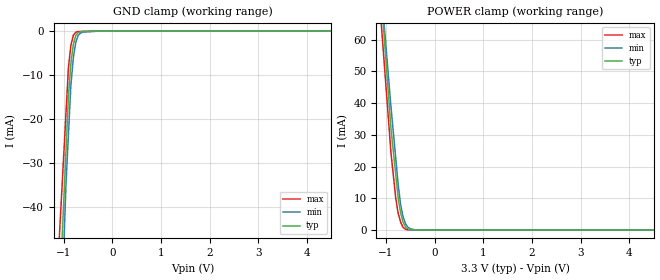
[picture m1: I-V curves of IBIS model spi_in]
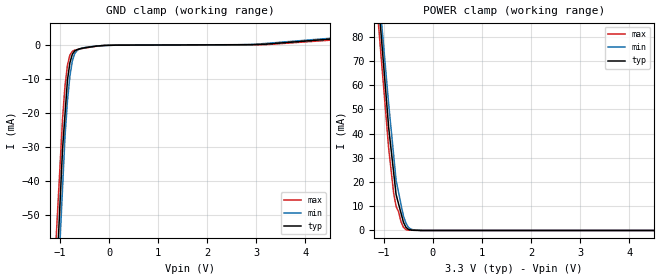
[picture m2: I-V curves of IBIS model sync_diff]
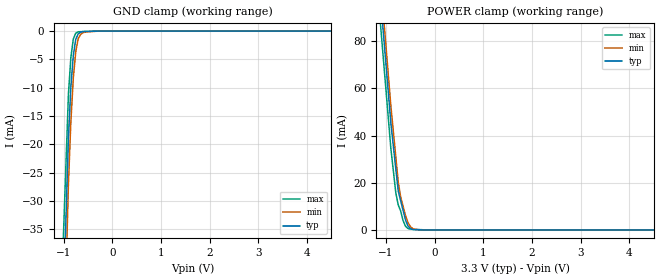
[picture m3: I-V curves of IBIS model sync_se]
| Teraspeed Labs Modeling Services.
| http://www.teraspeedlabs.com
[IBIS Ver]  4.0
[File Name] ltc6953iukg.ibs
[File Rev]  3.2
[Source]  Measured and created by Teraspeed Labs
[Date]   08/2/2019
[Notes]   Quality Check of this IBIS model: Model Passes IBIS Check
   Model parses into ICX IS. Simulation done with Hyperlynx.
   1. MIN TYP MAX information is based on Temperature and
   Voltage characteristics only.
   2. Package data gained using Tektronix ICconnect Software.
   3.1 updated input thresholds
   3.2 updated Vdiff
[Disclaimer]
| Use: Teraspeed (R) Labs has licensed Teraspeed (R) AccuModel (tm)
| IBIS models to specific integrated circuit suppliers ("IC Vendors")
| for use and distribution as  follows: Each IC Vendor may use IBIS
| Models, and distribute them to IC Vendor's customers to use solely
| for developing printed circuit board designs. Users of this model may
| modify the IBIS model to suit its specific applications but
| rights to derivative works and such modifications shall belong
| to Teraspeed (R) Labs. No other distribution of these materials is
| permitted.
| DISCLAIMER OF WARRANTY: UNLESS OTHERWISE AGREED TO IN WRITING
| TERASPEED (R) LABS DISCLAIMS AND USER WAIVES ALL WARRANTIES,
| EXPRESS OR IMPLIED, INCLUDING WARRANTIES OF MERCHANTABILITY AND
| FITNESS FOR A PARTICULAR PURPOSE. IN NO EVENT SHALL
| TERASPEED BE LIABLE FOR ANY DIRECT OR INDIRECT DAMAGES,
| WHETHER IN CONTRACT OR TORT, INCLUDING, WITHOUT LIMITATION,
| LOST PROFITS, BUSINESS INTERRUPTION, OR LOST INFORMATION
| ARISING OUT OF THE USE OF OR THE INABILITY TO USE THE MODEL,
| EVEN IF TERASPEED (R) Labs HAS BEEN ADVISED OF THE POSSIBILITY
| OF SUCH DAMAGES.
[Copyright]
| This file is the legal property of Teraspeed Labs Copyright(c) 2019.
| All other rights are reserved.
[Component]   LTC6953IUKG
[Manufacturer] Analog Devices
| Data Sheet Ver: LTC6953 , rev0
[Package]
|  UKG Package: 52 Lead(7mm x 8mm) Plastic QFN
| variable   typ   min   max
R_pkg  1.000E-02  1.000E-02  1.000E-02
L_pkg  2.631E-09  2.310E-09  2.970E-09
C_pkg  8.783E-13  8.100E-13  9.420E-13
[Pin] signal_name  model_name  R_pin  L_pin C_pin
1   CSb   spi_in   1.000E-02 2.970E-09 8.100E-13
2   VD+   POWER   1.000E-02 2.860E-09 8.320E-13
3   OUT10-   cml_out   1.000E-02 2.750E-09 8.540E-13
4   OUT10+   cml_out   1.000E-02 2.640E-09 8.760E-13
5   VOUT+   POWER   1.000E-02 2.530E-09 8.980E-13
6   OUT9-   cml_out   1.000E-02 2.420E-09 9.200E-13
7   OUT9+   cml_out   1.000E-02 2.310E-09 9.420E-13
8   VOUT+   POWER   1.000E-02 2.310E-09 9.420E-13
9   OUT8-   cml_out   1.000E-02 2.420E-09 9.200E-13
10   OUT8+   cml_out   1.000E-02 2.530E-09 8.980E-13
11   VOUT+   POWER   1.000E-02 2.640E-09 8.760E-13
12   OUT7-   cml_out   1.000E-02 2.750E-09 8.540E-13
13   OUT7+   cml_out   1.000E-02 2.860E-09 8.320E-13
14   VOUT+   POWER   1.000E-02 2.970E-09 8.100E-13
15   OUT6-   cml_out   1.000E-02 2.670E-09 8.710E-13
16   OUT6+   cml_out   1.000E-02 2.650E-09 8.750E-13
17   VOUT+   POWER   1.000E-02 2.630E-09 8.790E-13
18   OUT5-   cml_out   1.000E-02 2.610E-09 8.830E-13
19   OUT5+   cml_out   1.000E-02 2.590E-09 8.870E-13
20   VOUT+   POWER   1.000E-02 2.570E-09 8.910E-13
21   OUT4-   cml_out   1.000E-02 2.570E-09 8.910E-13
22   OUT4+   cml_out   1.000E-02 2.590E-09 8.870E-13
23   VOUT+   POWER   1.000E-02 2.610E-09 8.830E-13
24   OUT3-   cml_out   1.000E-02 2.630E-09 8.790E-13
25   OUT3+   cml_out   1.000E-02 2.650E-09 8.750E-13
26   VOUT+   POWER   1.000E-02 2.670E-09 8.710E-13
27   OUT2-   cml_out   1.000E-02 2.970E-09 8.100E-13
28   OUT2+   cml_out   1.000E-02 2.860E-09 8.320E-13
29   VOUT+   POWER   1.000E-02 2.750E-09 8.540E-13
30   OUT1-   cml_out   1.000E-02 2.640E-09 8.760E-13
31   OUT1+   cml_out   1.000E-02 2.530E-09 8.980E-13
32   VOUT+   POWER   1.000E-02 2.420E-09 9.200E-13
33   OUT0-   cml_out   1.000E-02 2.310E-09 9.420E-13
34   OUT0+   cml_out   1.000E-02 2.310E-09 9.420E-13
35   VOUT+   POWER   1.000E-02 2.420E-09 9.200E-13
36   NC   NC   1.000E-02 2.530E-09 8.980E-13
37   IN+   in   1.000E-02 2.640E-09 8.760E-13
38   IN-   in   1.000E-02 2.750E-09 8.540E-13
39   VIN+   POWER   1.000E-02 2.860E-09 8.320E-13
40   SDb   spi_in   1.000E-02 2.970E-09 8.100E-13
41   GND   GND   1.000E-02 2.670E-09 8.710E-13
42   NC   NC   1.000E-02 2.650E-09 8.750E-13
43   NC   NC   1.000E-02 2.630E-09 8.790E-13
44   VREF+   POWER   1.000E-02 2.610E-09 8.830E-13
45   NC   NC   1.000E-02 2.590E-09 8.870E-13
46   NC   NC   1.000E-02 2.570E-09 8.910E-13
47   EZS_SRQ+  sync_in   1.000E-02 2.570E-09 8.910E-13
48   EZS_SRQ-  sync_in   1.000E-02 2.590E-09 8.870E-13
49   STAT   stat_out  1.000E-02 2.610E-09 8.830E-13
50   SCLK   spi_in   1.000E-02 2.630E-09 8.790E-13
51   SDO   spi_tri   1.000E-02 2.650E-09 8.750E-13
52   SDI   spi_in   1.000E-02 2.670E-09 8.710E-13
53   EPAD   GND   0.000E+00 0.000E+00 0.000E+00
[Diff Pin] inv_pin vdiff tdelay_typ tdelay_min tdelay_max
|Inputs
37   38   125mV  NA   NA   NA
| Comment this pair out for CMOS(SE) SYNC/SYSREF
47   48   250mV  NA   NA   NA
|Outputs
4   3   NA   NA   NA   NA
7   6   NA   NA   NA   NA
10   9   NA   NA   NA   NA
13   12   NA   NA   NA   NA
16   15   NA   NA   NA   NA
19   18   NA   NA   NA   NA
22   21   NA   NA   NA   NA
25   24   NA   NA   NA   NA
28   27   NA   NA   NA   NA
31   30   NA   NA   NA   NA
34   33   NA   NA   NA   NA
[Model Selector]  sync_in
sync_se   CMOS(Single Ended) Sync/Sysref input
sync_diff   Differential Sync/Sysref input
| Models and submodels in the file (7): spi_in (Input), sync_diff (Input), sync_se (Input), in (Input), cml_out (Open_drain), spi_tri (3-state), stat_out (Output)
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[Model] spi_in
Model_type Input
Vinl = 800.000mV
Vinh = 1.55000V
C_comp 564.000fF 525.000fF 603.000fF
[Model Spec]
Vinh+  1.550   NA  NA
Vinh-  1.300   NA  NA
Vinl+  1.050   NA  NA
Vinl-  0.800   NA  NA
| variable typ   min   max
[Voltage Range]   3.30000V 3.15000V 3.45000V
[POWER Clamp Reference] 3.30000V 3.15000V 3.45000V
[GND Clamp Reference]   0.00000V 0.00000V 0.00000V
[Temperature Range]   25   125   -40
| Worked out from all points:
|   GND clamp passes 1 mA (typ) near -0.75 V on its own axis
|   POWER clamp passes 1 mA (typ) near -0.60 V on its own axis
[GND Clamp]
-3.3V     -612.2mA   -784.2mA   -502.7mA
-950mV    -27.24mA   -34.7mA    -18.58mA
-900mV    -14.79mA   -23.54mA   -8.278mA
-850mV    -7.387mA   -12.38mA   -3.239mA
-800mV    -3.051mA   -6.132mA   -939.4uA
-750mV    -990.1uA   -2.562mA   -247.9uA
-700mV    -310.8uA   -943.9uA   -83.85uA
-650mV    -122.9uA   -415.5uA   -72.16uA
-600mV    -39.96uA   -196.5uA   -60.47uA
-350mV    -9.296uA   -43.9uA    -2.026uA
-300mV    -3.163uA   -13.37uA   -1.942uA
6.6V      23.33uA    19.44uA    9.584uA
[POWER Clamp]
-3.3V     532.4mA    482.9mA    514.8mA
-1.05V    63.43mA    66.74mA    55.13mA
-950mV    42.58mA    48.24mA    34.69mA
-900mV    32.16mA    39mA       24.48mA
-800mV    17.36mA    22.48mA    9.874mA
-750mV    9.956mA    14.23mA    5.182mA
-700mV    5.389mA    7.955mA    2.456mA
-650mV    2.483mA    4.153mA    787.7uA
-600mV    920.8uA    1.928mA    203.9uA
-500mV    98.92uA    372.5uA    50.31uA
-250mV    0A         0A         8.386uA
6.6V      0A         0A         0A
[Model] sync_diff
Model_type Input
Vinl = 1.97500V
Vinh = 2.22500V
C_comp 558.000fF 515.000fF 601.000fF
[Model Spec]
Vinl   1.975  1.475  2.375
Vinh   2.225  1.725  2.625
| variable typ   min   max
[Voltage Range]   3.30000V 3.15000V 3.45000V
[POWER Clamp Reference] 3.30000V 3.15000V 3.45000V
[GND Clamp Reference]   0.00000V 0.00000V 0.00000V
[Temperature Range]   25   125   -40
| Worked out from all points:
|   GND clamp passes 1 mA (typ) near -0.55 V on its own axis
|   POWER clamp passes 1 mA (typ) near -0.53 V on its own axis
[GND Clamp]
-3.3V     -756.5mA   -753.3mA   -653.8mA
-950mV    -30.67mA   -42.11mA   -21.82mA
-900mV    -20.51mA   -26.98mA   -12.09mA
-850mV    -10.36mA   -16.48mA   -5.985mA
-800mV    -5.26mA    -9.193mA   -2.993mA
-750mV    -2.732mA   -4.726mA   -1.924mA
-700mV    -1.773mA   -2.492mA   -1.555mA
-650mV    -1.399mA   -1.629mA   -1.396mA
-550mV    -1.014mA   -949.2uA   -1.078mA
-225mV    -328.2uA   -295uA     -352.6uA
2.95V     61.19uA    135.5uA    48.33uA
6.6V      4.063mA    4.352mA    3.481mA
[POWER Clamp]
-3.3V     640.8mA    610mA      623.6mA
-1.05V    79.53mA    86.68mA    70.41mA
-950mV    54.59mA    63.43mA    45.82mA
-900mV    42.11mA    51.8mA     33.53mA
-800mV    23.88mA    30.99mA    15.35mA
-750mV    14.77mA    20.59mA    9.925mA
-700mV    10.96mA    15.66mA    7.713mA
-600mV    3.348mA    5.911mA    1.296mA
-550mV    1.315mA    3.064mA    365.9uA
-450mV    198.8uA    555.9uA    100.1uA
-250mV    22.25uA    0A         27.3uA
6.6V      0A         0A         0A
[Model] sync_se
Model_type Input
Vinl = 600.000mV
Vinh = 1.30000V
C_comp 588.000fF 515.000fF 601.000fF
[Model Spec]
Vinh+  1.300   NA  NA
Vinh-  1.100   NA  NA
Vinl+  0.800   NA  NA
Vinl-  0.600   NA  NA
| variable typ   min   max
[Voltage Range]   3.30000V 3.15000V 3.45000V
[POWER Clamp Reference] 3.30000V 3.15000V 3.45000V
[GND Clamp Reference]   0.00000V 0.00000V 0.00000V
[Temperature Range]   25   125   -40
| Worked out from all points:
|   GND clamp passes 1 mA (typ) near -0.73 V on its own axis
|   POWER clamp passes 1 mA (typ) near -0.52 V on its own axis
[GND Clamp]
-3.3V     -688.8mA   -791.1mA   -593.9mA
-900mV    -18.9mA    -27.02mA   -11.15mA
-850mV    -9.84mA    -16.01mA   -4.659mA
-800mV    -4.326mA   -8.343mA   -1.431mA
-750mV    -1.491mA   -3.665mA   -362.9uA
-700mV    -469.2uA   -1.364mA   -119uA
-650mV    -193.9uA   -572.9uA   -103.4uA
-600mV    -77.86uA   -282.5uA   -87.71uA
-275mV    -10.26uA   -8.37uA    -8.896uA
6.6V      0A         0A         0A
[POWER Clamp]
-3.3V     640.2mA    654.1mA    626.4mA
-1.05V    82.18mA    89.88mA    71.23mA
-950mV    57.38mA    64.81mA    46.56mA
-900mV    44.98mA    52.27mA    34.23mA
-800mV    26mA       31.01mA    15.81mA
-750mV    16.5mA     20.39mA    10.61mA
-700mV    12.4mA     13.93mA    8.057mA
-650mV    8.297mA    10.02mA    3.944mA
-550mV    1.745mA    3.184mA    630.7uA
-450mV    184.4uA    571.7uA    290.1uA
-250mV    20.49uA    0A         99.79uA
6.6V      0A         0A         0A
